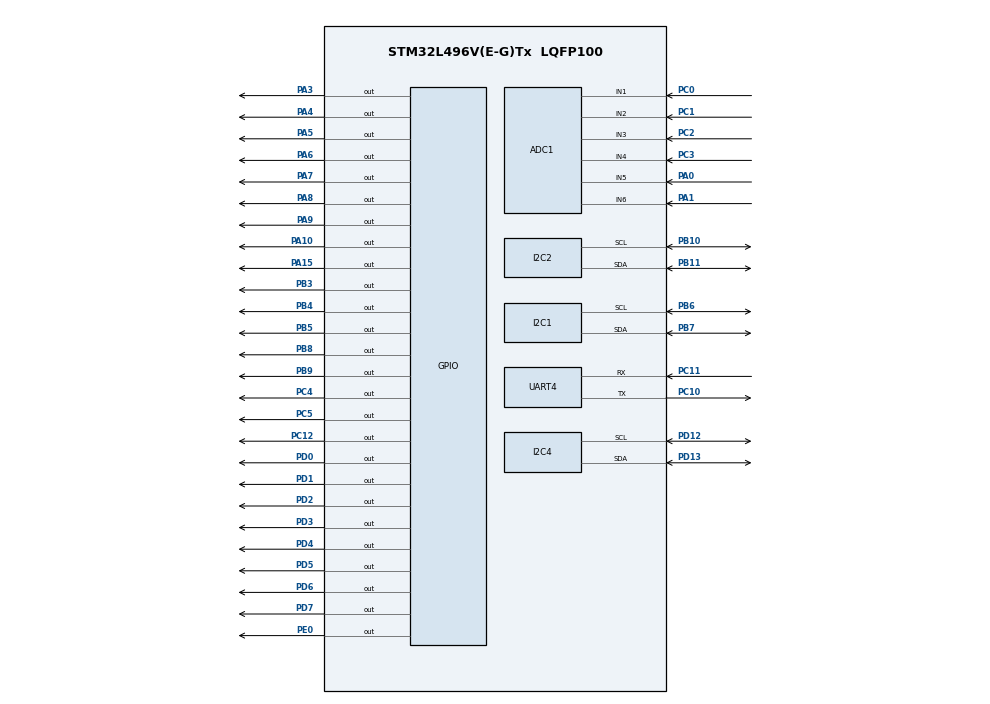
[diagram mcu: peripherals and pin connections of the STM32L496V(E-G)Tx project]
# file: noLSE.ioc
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ADC1.Channel-0\#ChannelRegularConversion=ADC_CHANNEL_1
ADC1.NbrOfConversionFlag=1
ADC1.OffsetNumber-0\#ChannelRegularConversion=ADC_OFFSET_NONE
ADC1.Rank-0\#ChannelRegularConversion=1
ADC1.SamplingTime-0\#ChannelRegularConversion=ADC_SAMPLETIME_2CYCLES_5
ADC1.master=1
I2C1.Timing=0x00100D14
I2C2.Timing=0x00100D14
I2C4.Timing=0x00100D14
Mcu.Family=STM32L4
Mcu.Name=STM32L496V(E-G)Tx
Mcu.Package=LQFP100
NVIC.PriorityGroup=NVIC_PRIORITYGROUP_4
PA0.Signal=ADCx_IN5
PA1.Signal=ADCx_IN6
PA10.Signal=GPIO_Output
PA13\ (JTMS/SWDIO).Mode=Serial_Wire
PA13\ (JTMS/SWDIO).Signal=SYS_JTMS-SWDIO
PA14\ (JTCK/SWCLK).Mode=Serial_Wire
PA14\ (JTCK/SWCLK).Signal=SYS_JTCK-SWCLK
PA15\ (JTDI).Signal=GPIO_Output
PA3.Signal=GPIO_Output
PA4.Signal=GPIO_Output
PA5.Signal=GPIO_Output
PA6.Signal=GPIO_Output
PA7.Signal=GPIO_Output
PA8.Signal=GPIO_Output
PA9.Signal=GPIO_Output
PB10.Mode=I2C
PB10.Signal=I2C2_SCL
PB11.Mode=I2C
PB11.Signal=I2C2_SDA
PB3\ (JTDO/TRACESWO).Signal=GPIO_Output
PB4\ (NJTRST).Signal=GPIO_Output
PB5.Signal=GPIO_Output
PB6.Mode=I2C
PB6.Signal=I2C1_SCL
PB7.Mode=I2C
PB7.Signal=I2C1_SDA
PB8.Signal=GPIO_Output
PB9.Signal=GPIO_Output
PC0.Signal=ADCx_IN1
PC1.Signal=ADCx_IN2
PC10.Mode=Asynchronous
PC10.Signal=UART4_TX
PC11.Mode=Asynchronous
PC11.Signal=UART4_RX
PC12.Signal=GPIO_Output
PC2.Signal=ADCx_IN3
PC3.Signal=ADCx_IN4
PC4.Signal=GPIO_Output
PC5.Signal=GPIO_Output
PD0.Signal=GPIO_Output
PD1.Signal=GPIO_Output
PD12.Mode=I2C
PD12.Signal=I2C4_SCL
PD13.Mode=I2C
PD13.Signal=I2C4_SDA
PD2.Signal=GPIO_Output
PD3.Signal=GPIO_Output
PD4.Signal=GPIO_Output
PD5.Signal=GPIO_Output
PD6.Signal=GPIO_Output
PD7.Signal=GPIO_Output
PE0.Signal=GPIO_Output
ProjectManager.HeapSize=0x200
ProjectManager.StackSize=0x400
ProjectManager.TargetToolchain=STM32CubeIDE
RCC.ADCFreq_Value=32000000
RCC.HSE_VALUE=8000000
RCC.HSI48_VALUE=48000000
RCC.HSI_VALUE=16000000
RCC.LSE_VALUE=32768
RCC.MSI_VALUE=4000000
RCC.PLLSAI1N=16
RCC.USBFreq_Value=32000000
RCC.VCOOutputFreq_Value=32000000
SH.ADCx_IN1.0=ADC1_IN1,IN1-Single-Ended
SH.ADCx_IN2.0=ADC1_IN2,IN2-Single-Ended
SH.ADCx_IN3.0=ADC1_IN3,IN3-Single-Ended
SH.ADCx_IN4.0=ADC1_IN4,IN4-Single-Ended
SH.ADCx_IN5.0=ADC1_IN5,IN5-Single-Ended
SH.ADCx_IN6.0=ADC1_IN6,IN6-Single-Ended
VP_RTC_VS_RTC_Activate.Mode=RTC_Enabled
board=custom

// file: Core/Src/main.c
/* USER CODE BEGIN Header */
/**
  ******************************************************************************
  * @file           : main.c
  * @brief          : Main program body
  ******************************************************************************
  * @attention
  *
  * Copyright (c) 2026 STMicroelectronics.
  * All rights reserved.
  *
  * This software is licensed under terms that can be found in the LICENSE file
  * in the root directory of this software component.
  * If no LICENSE file comes with this software, it is provided AS-IS.
  *
  ******************************************************************************
  */
/* USER CODE END Header */
#include "main.h"
#include "adc.h"
#include "i2c.h"
#include "rtc.h"
#include "usart.h"
#include "gpio.h"

void SystemClock_Config(void);

/* USER CODE BEGIN 0 */
static const struct {
    GPIO_TypeDef *port;
    uint16_t pin;
} leds[] = {
    {GPIOB, GPIO_PIN_8},
    {GPIOB, GPIO_PIN_9},
    {GPIOE, GPIO_PIN_0},
    {GPIOB, GPIO_PIN_5},
    {GPIOB, GPIO_PIN_4},
    {GPIOB, GPIO_PIN_3},
    {GPIOA, GPIO_PIN_8},
    {GPIOA, GPIO_PIN_9},
    {GPIOA, GPIO_PIN_10},
    {GPIOC, GPIO_PIN_4},
    {GPIOC, GPIO_PIN_5},
    {GPIOA, GPIO_PIN_4},
    {GPIOA, GPIO_PIN_6},
    {GPIOA, GPIO_PIN_7},
    {GPIOA, GPIO_PIN_3}
};

static void LEDs_BlinkSequence(void)
{
    const unsigned count = sizeof(leds) / sizeof(leds[0]);

    /* Start with all LEDs off. */
    for (unsigned i = 0; i < count; i++) {
        HAL_GPIO_WritePin(leds[i].port, leds[i].pin, GPIO_PIN_RESET);
    }

    /* Blink each LED in order. */
    for (unsigned i = 0; i < count; i++) {
        HAL_GPIO_WritePin(leds[i].port, leds[i].pin, GPIO_PIN_SET);
        HAL_Delay(100);

        HAL_GPIO_WritePin(leds[i].port, leds[i].pin, GPIO_PIN_RESET);
        HAL_Delay(100);
    }
}
/* USER CODE END 0 */

int main(void)
{

  /* MCU Configuration--------------------------------------------------------*/

  /* Reset of all peripherals, Initializes the Flash interface and the Systick. */
  HAL_Init();

  /* Configure the system clock */
  SystemClock_Config();

  /* Initialize all configured peripherals */
  MX_GPIO_Init();
  MX_ADC1_Init();
  MX_I2C1_Init();
  MX_I2C2_Init();
  MX_I2C4_Init();
  MX_RTC_Init();
  MX_UART4_Init();
  /* USER CODE BEGIN 2 */
  LEDs_BlinkSequence();
  /* USER CODE END 2 */

  /* Infinite loop */
  while (1)
  {
	  HAL_GPIO_WritePin(GPIOA, GPIO_PIN_8, GPIO_PIN_SET);
	  HAL_Delay(100);
	  HAL_GPIO_WritePin(GPIOA, GPIO_PIN_9, GPIO_PIN_SET);
	  HAL_Delay(100);
	  HAL_GPIO_WritePin(GPIOA, GPIO_PIN_10, GPIO_PIN_SET);
	  HAL_Delay(100);

	  HAL_GPIO_WritePin(GPIOA, GPIO_PIN_8, GPIO_PIN_RESET);
	  HAL_Delay(100);
	  HAL_GPIO_WritePin(GPIOA, GPIO_PIN_9, GPIO_PIN_RESET);
	  HAL_Delay(100);
	  HAL_GPIO_WritePin(GPIOA, GPIO_PIN_10, GPIO_PIN_RESET);
	  HAL_Delay(100);
  }
}

void SystemClock_Config(void)
{
  RCC_OscInitTypeDef RCC_OscInitStruct = {0};
  RCC_ClkInitTypeDef RCC_ClkInitStruct = {0};

  /** Configure the main internal regulator output voltage
  */
  if (HAL_PWREx_ControlVoltageScaling(PWR_REGULATOR_VOLTAGE_SCALE1) != HAL_OK)
  {
    Error_Handler();
  }

  /** Initializes the RCC Oscillators according to the specified parameters
  * in the RCC_OscInitTypeDef structure.
  */
  RCC_OscInitStruct.OscillatorType = RCC_OSCILLATORTYPE_LSI|RCC_OSCILLATORTYPE_MSI;
  RCC_OscInitStruct.LSIState = RCC_LSI_ON;
  RCC_OscInitStruct.MSIState = RCC_MSI_ON;
  RCC_OscInitStruct.MSICalibrationValue = 0;
  RCC_OscInitStruct.MSIClockRange = RCC_MSIRANGE_6;
  RCC_OscInitStruct.PLL.PLLState = RCC_PLL_NONE;
  if (HAL_RCC_OscConfig(&RCC_OscInitStruct) != HAL_OK)
  {
    Error_Handler();
  }

  /** Initializes the CPU, AHB and APB buses clocks
  */
  RCC_ClkInitStruct.ClockType = RCC_CLOCKTYPE_HCLK|RCC_CLOCKTYPE_SYSCLK
                              |RCC_CLOCKTYPE_PCLK1|RCC_CLOCKTYPE_PCLK2;
  RCC_ClkInitStruct.SYSCLKSource = RCC_SYSCLKSOURCE_MSI;
  RCC_ClkInitStruct.AHBCLKDivider = RCC_SYSCLK_DIV1;
  RCC_ClkInitStruct.APB1CLKDivider = RCC_HCLK_DIV1;
  RCC_ClkInitStruct.APB2CLKDivider = RCC_HCLK_DIV1;

  if (HAL_RCC_ClockConfig(&RCC_ClkInitStruct, FLASH_LATENCY_0) != HAL_OK)
  {
    Error_Handler();
  }
}

void Error_Handler(void)
{
  __disable_irq();
  while (1)
  {
  }
}
